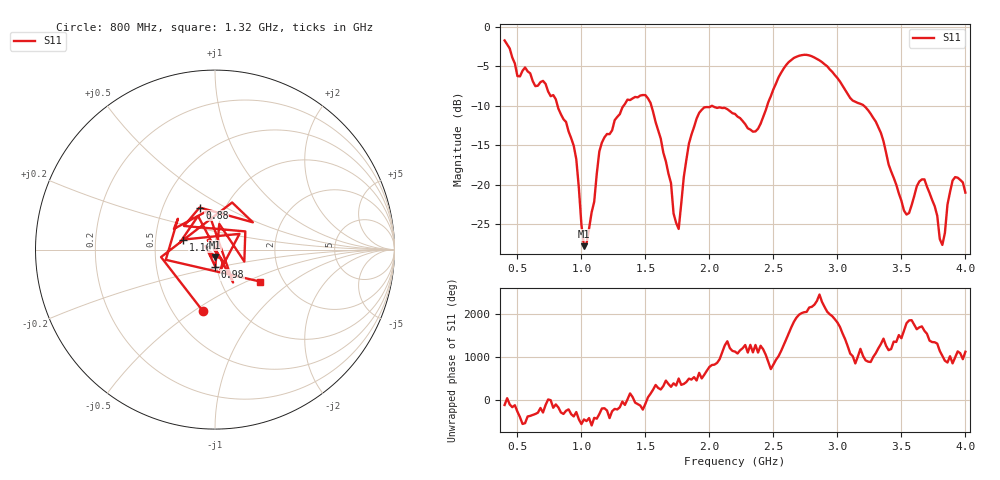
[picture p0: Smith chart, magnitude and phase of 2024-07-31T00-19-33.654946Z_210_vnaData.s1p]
!Created with skrf (http://scikit-rf.org).
# Hz S RI R 50.0
!freq ReS11 ImS11
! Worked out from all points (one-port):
!   181 points, 400 MHz to 4 GHz, reference 50 ohm
!   lowest |S11| = -27.8 dB at 1.02 GHz (marker M1), VSWR 1.08, Z = 49.8 - j4.06 ohm
!   |S11| at or under -10 dB: 814 MHz to 1.33 GHz (515.6 MHz wide, 48.1 % of centre); 1.547 GHz to 2.02 GHz (473 MHz wide, 26.5 % of centre); 3.207 GHz to end of sweep (the widest 3 of 4)
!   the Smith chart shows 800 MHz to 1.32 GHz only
!   S11 on the Smith chart (normalised r, x): 800 MHz: 0.70, -0.54; 880 MHz: 0.76, +0.38; 980 MHz: 0.99, -0.19; 1.16 GHz: 0.70, +0.08; 1.32 GHz: 1.53, -0.60
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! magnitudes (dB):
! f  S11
! 400 MHz  -1.7
! 500 MHz  -6.2
! 560 MHz  -5.1
! 800 MHz  -9.2
! 860 MHz  -11.7
! 880 MHz  -12.1
! 940 MHz  -15.1
! 980 MHz  -20.4
! 1.02 GHz  -27.8
! 1.1 GHz  -22.2
! 1.16 GHz  -14.7
! 1.3 GHz  -11.1
! 1.32 GHz  -10.2
! 1.54 GHz  -9.6
! 1.76 GHz  -25.6
! 1.84 GHz  -14.8
! 1.92 GHz  -10.9
! 2.2 GHz  -11.0
! 2.36 GHz  -13.2
! 2.66 GHz  -3.9
! 2.88 GHz  -4.5
! 3.1 GHz  -9.0
! 3.3 GHz  -12.0
! 3.56 GHz  -23.6
! 3.68 GHz  -19.3
! 3.82 GHz  -27.7
! 3.9 GHz  -19.5
! 4 GHz  -21.0
